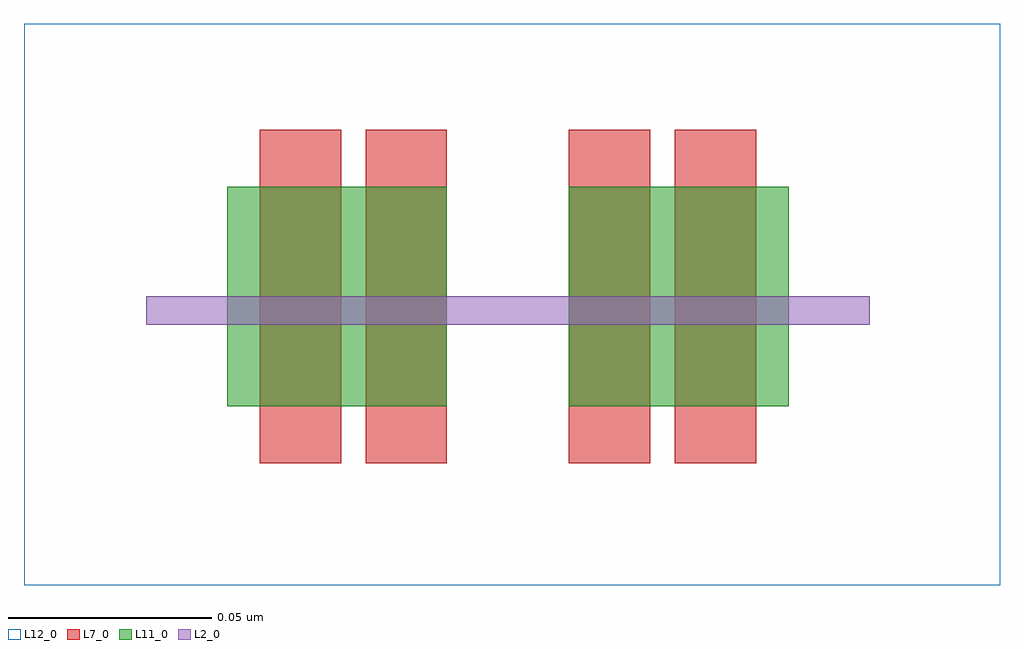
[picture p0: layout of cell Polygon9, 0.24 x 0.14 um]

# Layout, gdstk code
import gdstk
lib = gdstk.Library(unit=1e-6, precision=2.5e-10)
def R(c, l, rs):  # rectangles x0, y0, x1, y1
    for r in rs: c.add(gdstk.rectangle(r[:2], r[2:], *l))
L2_0 = (2, 0)
L7_0 = (7, 0)
L11_0 = (11, 0)
L12_0 = (12, 0)

polygon9 = lib.new_cell('Polygon9')
R(polygon9, L2_0, [(-0.02,0.024,0.158,0.031)])
R(polygon9, L7_0, [(0.008,-0.01,0.028,0.072), (0.034,-0.01,0.054,0.072), (0.084,-0.01,0.104,0.072), (0.11,-0.01,0.13,0.072)])
R(polygon9, L11_0, [(0,0.004,0.054,0.058), (0.084,0.004,0.138,0.058)])
R(polygon9, L12_0, [(-0.05,-0.04,0.19,0.098)])

lib.write_gds('Polygon9.gds')
